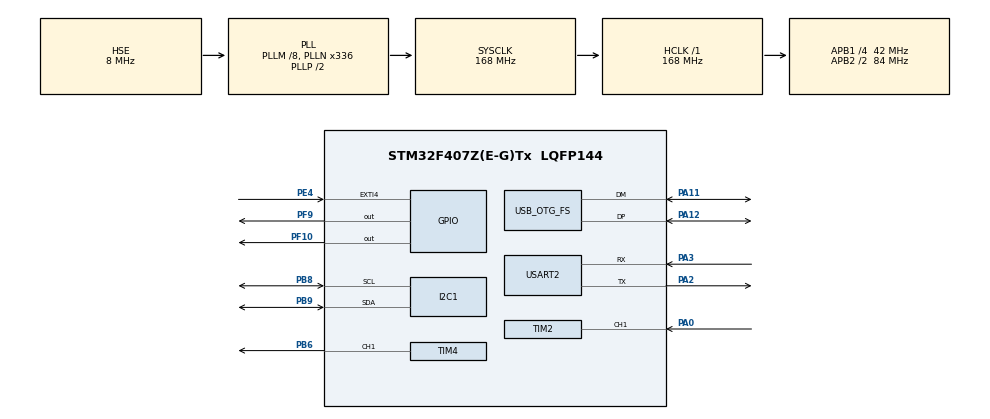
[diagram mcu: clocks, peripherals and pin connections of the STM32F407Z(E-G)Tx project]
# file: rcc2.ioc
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Dma.Request0=USART2_RX
Dma.USART2_RX.0.Direction=DMA_PERIPH_TO_MEMORY
Dma.USART2_RX.0.FIFOMode=DMA_FIFOMODE_DISABLE
Dma.USART2_RX.0.Instance=DMA1_Stream5
Dma.USART2_RX.0.MemDataAlignment=DMA_MDATAALIGN_BYTE
Dma.USART2_RX.0.MemInc=DMA_MINC_ENABLE
Dma.USART2_RX.0.Mode=DMA_NORMAL
Dma.USART2_RX.0.PeriphDataAlignment=DMA_PDATAALIGN_BYTE
Dma.USART2_RX.0.PeriphInc=DMA_PINC_DISABLE
Dma.USART2_RX.0.Priority=DMA_PRIORITY_LOW
FREERTOS.Tasks01=CommTask,40,256,StartCommTask,Default,NULL,Dynamic,NULL,NULL;CtrlTask,32,256,StartCtrlTask,Default,NULL,Dynamic,NULL,NULL;AcqTask,24,256,StartAcqTask,Default,NULL,Dynamic,NULL,NULL
I2C1.I2C_Mode=I2C_Fast
Mcu.Family=STM32F4
Mcu.Name=STM32F407Z(E-G)Tx
Mcu.Package=LQFP144
NVIC.DMA1_Stream5_IRQn=true\:5\:0\:false\:false\:true\:true\:false\:true\:true
NVIC.EXTI4_IRQn=true\:5\:0\:false\:false\:true\:true\:true\:true\:true
NVIC.OTG_FS_IRQn=true\:5\:0\:false\:false\:true\:true\:false\:true\:true
NVIC.PriorityGroup=NVIC_PRIORITYGROUP_4
NVIC.TIM6_DAC_IRQn=true\:15\:0\:false\:false\:true\:false\:false\:true\:true
NVIC.TimeBase=TIM6_DAC_IRQn
NVIC.TimeBaseIP=TIM6
NVIC.USART2_IRQn=true\:5\:0\:false\:false\:true\:true\:true\:true\:true
PA0-WKUP.Signal=S_TIM2_CH1_ETR
PA11.Mode=Device_Only
PA11.Signal=USB_OTG_FS_DM
PA12.Mode=Device_Only
PA12.Signal=USB_OTG_FS_DP
PA13.Mode=Serial_Wire
PA13.Signal=SYS_JTMS-SWDIO
PA14.Mode=Serial_Wire
PA14.Signal=SYS_JTCK-SWCLK
PA2.Mode=Asynchronous
PA2.Signal=USART2_TX
PA3.Mode=Asynchronous
PA3.Signal=USART2_RX
PB6.Signal=S_TIM4_CH1
PB8.Mode=I2C
PB8.Signal=I2C1_SCL
PB9.Mode=I2C
PB9.Signal=I2C1_SDA
PE4.GPIO_ModeDefaultEXTI=GPIO_MODE_IT_FALLING
PE4.GPIO_PuPd=GPIO_PULLUP
PE4.Signal=GPXTI4
PF10.PinState=GPIO_PIN_SET
PF10.Signal=GPIO_Output
PF9.PinState=GPIO_PIN_SET
PF9.Signal=GPIO_Output
PH0-OSC_IN.Mode=HSE-External-Oscillator
PH0-OSC_IN.Signal=RCC_OSC_IN
PH1-OSC_OUT.Mode=HSE-External-Oscillator
PH1-OSC_OUT.Signal=RCC_OSC_OUT
ProjectManager.HeapSize=0x200
ProjectManager.StackSize=0x400
ProjectManager.TargetToolchain=MDK-ARM V5.32
RCC.48MHZClocksFreq_Value=48000000
RCC.AHBFreq_Value=168000000
RCC.APB1CLKDivider=RCC_HCLK_DIV4
RCC.APB1Freq_Value=42000000
RCC.APB1TimFreq_Value=84000000
RCC.APB2CLKDivider=RCC_HCLK_DIV2
RCC.APB2Freq_Value=84000000
RCC.APB2TimFreq_Value=168000000
RCC.CortexFreq_Value=168000000
RCC.HCLKFreq_Value=168000000
RCC.HSE_VALUE=8000000
RCC.HSI_VALUE=16000000
RCC.LSE_VALUE=32768
RCC.PLLM=8
RCC.PLLN=336
RCC.PLLQ=7
RCC.SYSCLKFreq_VALUE=168000000
RCC.SYSCLKSource=RCC_SYSCLKSOURCE_PLLCLK
RCC.VCOOutputFreq_Value=336000000
SH.S_TIM2_CH1_ETR.0=TIM2_CH1,Input_Capture1_from_TI1
SH.S_TIM4_CH1.0=TIM4_CH1,PWM Generation1 CH1
TIM2.Channel-Input_Capture1_from_TI1=TIM_CHANNEL_1
TIM2.ICFilter_CH1=15
TIM4.AutoReloadPreload=TIM_AUTORELOAD_PRELOAD_ENABLE
TIM4.Channel-PWM\ Generation1\ CH1=TIM_CHANNEL_1
TIM4.Period=499
TIM4.Prescaler=83
TIM4.Pulse-PWM\ Generation1\ CH1=500
USART2.VirtualMode=VM_ASYNC
USB_DEVICE.CLASS_NAME_FS=CDC
USB_DEVICE.VirtualMode-CDC_FS=Cdc
USB_DEVICE.VirtualModeFS=Cdc_FS
USB_OTG_FS.VirtualMode=Device_Only
VP_FREERTOS_VS_CMSIS_V2.Mode=CMSIS_V2
VP_SYS_VS_tim6.Mode=TIM6
VP_TIM2_VS_ClockSourceINT.Mode=Internal
VP_TIM4_VS_ClockSourceINT.Mode=Internal
VP_USB_DEVICE_VS_USB_DEVICE_CDC_FS.Mode=CDC_FS
board=custom

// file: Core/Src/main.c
/* USER CODE BEGIN Header */
/**
  ******************************************************************************
  * @file           : main.c
  * @brief          : Main program body
  ******************************************************************************
  */
/* USER CODE END Header */
#include "main.h"
#include "cmsis_os.h"
#include "dma.h"
#include "tim.h"
#include "usart.h"
#include "gpio.h"
#include "i2c.h"
#include "iwdg.h"

/* USER CODE BEGIN Includes */
#include <stdio.h>
#include "virtual_motor.h"
#include "crc16.h"
#include "protocol_pack.h"
#include "mpu6050.h"
/* USER CODE END Includes */

void SystemClock_Config(void);
void MX_FREERTOS_Init(void);

/* USER CODE BEGIN 0 */
int fputc(int ch, FILE *f) {
    // 测试阶段不需要打印，直接空返回，避免 huart1 未定义报错
    return ch;
}
/* USER CODE END 0 */

int main(void)
{

  /* MCU Configuration--------------------------------------------------------*/
  HAL_Init();

  /* Configure the system clock */
  SystemClock_Config();

  /* Initialize all configured peripherals */
  MX_GPIO_Init();
  MX_DMA_Init();
  MX_TIM2_Init();
  MX_TIM4_Init();
  MX_USART2_UART_Init();
  MX_I2C1_Init();
  MX_IWDG_Init(); // 【已暂时注释】防止看门狗复位打断数据发送

  /* USER CODE BEGIN 2 */
  HAL_TIM_Base_Start(&htim2);
  HAL_TIM_PWM_Start(&htim4, TIM_CHANNEL_1);
  UART1_RxStart();

  mpu6050_init(); // MPU6050 初始化
  /* USER CODE END 2 */

  /* Init scheduler */
  osKernelInitialize();
  MX_FREERTOS_Init();

  /* Start scheduler */
  osKernelStart();

  /* We should never get here as control is now taken by the scheduler */
  while (1)
  {
  }
}

void SystemClock_Config(void)
{
  RCC_OscInitTypeDef RCC_OscInitStruct = {0};
  RCC_ClkInitTypeDef RCC_ClkInitStruct = {0};

  __HAL_RCC_PWR_CLK_ENABLE();
  __HAL_PWR_VOLTAGESCALING_CONFIG(PWR_REGULATOR_VOLTAGE_SCALE1);

  RCC_OscInitStruct.OscillatorType = RCC_OSCILLATORTYPE_HSE;
  RCC_OscInitStruct.HSEState = RCC_HSE_ON;
  RCC_OscInitStruct.PLL.PLLState = RCC_PLL_ON;
  RCC_OscInitStruct.PLL.PLLSource = RCC_PLLSOURCE_HSE;
  RCC_OscInitStruct.PLL.PLLM = 8;
  RCC_OscInitStruct.PLL.PLLN = 336;
  RCC_OscInitStruct.PLL.PLLP = RCC_PLLP_DIV2;
  RCC_OscInitStruct.PLL.PLLQ = 4;
  if (HAL_RCC_OscConfig(&RCC_OscInitStruct) != HAL_OK)
  {
    Error_Handler();
  }

  RCC_ClkInitStruct.ClockType = RCC_CLOCKTYPE_HCLK|RCC_CLOCKTYPE_SYSCLK
                              |RCC_CLOCKTYPE_PCLK1|RCC_CLOCKTYPE_PCLK2;
  RCC_ClkInitStruct.SYSCLKSource = RCC_SYSCLKSOURCE_PLLCLK;
  RCC_ClkInitStruct.AHBCLKDivider = RCC_SYSCLK_DIV1;
  RCC_ClkInitStruct.APB1CLKDivider = RCC_HCLK_DIV4;
  RCC_ClkInitStruct.APB2CLKDivider = RCC_HCLK_DIV2;

  if (HAL_RCC_ClockConfig(&RCC_ClkInitStruct, FLASH_LATENCY_5) != HAL_OK)
  {
    Error_Handler();
  }
}

/* USER CODE BEGIN 4 */
void HAL_GPIO_EXTI_Callback(uint16_t GPIO_Pin) {
    if (GPIO_Pin == GPIO_PIN_4) {
        VMotor_ToggleLoad();
    }
}
/* USER CODE END 4 */

void HAL_TIM_PeriodElapsedCallback(TIM_HandleTypeDef *htim)
{
  if (htim->Instance == TIM6)
  {
    HAL_IncTick();
  }
}

void Error_Handler(void)
{
  __disable_irq();
  while (1)
  {
  }
}

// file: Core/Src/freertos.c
/* USER CODE BEGIN Header */
/**
  ******************************************************************************
  * File Name          : freertos.c
  ******************************************************************************
  */
/* USER CODE END Header */

#include "FreeRTOS.h"
#include "task.h"
#include "main.h"
#include "cmsis_os.h"

/* USER CODE BEGIN Includes */
#include <stdio.h>
#include <string.h>
#include <math.h>
#include "pid.h"
#include "speed_calc.h"
#include "virtual_motor.h"
#include "protocol_pack.h"
#include "queue.h"
#include "mpu6050.h"
#include "iwdg.h"
/* USER CODE END Includes */

/* USER CODE BEGIN PD */
#define HEARTBEAT_TIMEOUT_MS   500U
/* USER CODE END PD */

/* USER CODE BEGIN Variables */
QueueHandle_t vel_cmd_queue;
QueueHandle_t xQueueActualSpeed;

PID_t g_pid_l;
PID_t g_pid_r;
volatile TickType_t g_last_heartbeat_tick = 0;

extern volatile uint32_t g_ok_cnt;
extern volatile uint32_t g_crc_err_cnt;
extern volatile uint8_t g_send_hb_ack;
extern void UART1_SendData(uint8_t *data, uint16_t len);

float odom_x = 0.0f;
float odom_y = 0.0f;
float odom_theta = 0.0f;

volatile int32_t g_enc_cnt_left = 0;
volatile int32_t g_enc_cnt_right = 0;

void Encoder_Inject(int32_t dl, int32_t dr) {
    g_enc_cnt_left += dl;
    g_enc_cnt_right += dr;
}
/* USER CODE END Variables */

/* Definitions for CommTask */
osThreadId_t CommTaskHandle;
const osThreadAttr_t CommTask_attributes = {
  .name = "CommTask",
  .stack_size = 512 * 4,
  .priority = (osPriority_t) osPriorityHigh,
};

/* Definitions for CtrlTask */
osThreadId_t CtrlTaskHandle;
const osThreadAttr_t CtrlTask_attributes = {
  .name = "CtrlTask",
  .stack_size = 1024 * 4, // 4KB 栈防爆
  .priority = (osPriority_t) osPriorityAboveNormal,
};

/* Definitions for AcqTask */
osThreadId_t AcqTaskHandle;
const osThreadAttr_t AcqTask_attributes = {
  .name = "AcqTask",
  .stack_size = 256 * 4,
  .priority = (osPriority_t) osPriorityNormal,
};

/* Definitions for ImuTask */
osThreadId_t ImuTaskHandle;
const osThreadAttr_t ImuTask_attributes = {
  .name = "ImuTask",
  .stack_size = 512 * 4,
  .priority = (osPriority_t) osPriorityNormal,
};

void StartCommTask(void *argument);
void StartCtrlTask(void *argument);
void StartAcqTask(void *argument);
void StartImuTask(void *argument);
void MX_FREERTOS_Init(void);

void MX_FREERTOS_Init(void) {
  /* USER CODE BEGIN RTOS_QUEUES */
  vel_cmd_queue     = xQueueCreate(4, sizeof(vel_cmd_t));
  xQueueActualSpeed = xQueueCreate(1, sizeof(float));
  /* USER CODE END RTOS_QUEUES */

  CommTaskHandle = osThreadNew(StartCommTask, NULL, &CommTask_attributes);
  CtrlTaskHandle = osThreadNew(StartCtrlTask, NULL, &CtrlTask_attributes);
  AcqTaskHandle  = osThreadNew(StartAcqTask, NULL, &AcqTask_attributes);
  ImuTaskHandle  = osThreadNew(StartImuTask, NULL, &ImuTask_attributes);
}

void StartCommTask(void *argument)
{
  for(;;) {
    if (g_send_hb_ack) {
        g_send_hb_ack = 0;
        uint8_t txbuf[16];
        uint16_t n = pack_heartbeat_ack(txbuf, 0);
        UART1_SendData(txbuf, n);
    }
    osDelay(10);
  }
}

void StartCtrlTask(void *argument)
{
  float target_l = 0.0f, target_r = 0.0f;
  float actual_l = 0.0f, actual_r = 0.0f;
  uint8_t in_safe_stop = 0;
  TickType_t xLastWake = xTaskGetTickCount();

    // 把 Kp 从 15 降到 3.0，Ki 从 0.02 降到 0.005，积分上限降到 100
  PID_Init(&g_pid_l, 3.0f, 0.005f, 0.0f, 100.0f, 100.0f);
  PID_Init(&g_pid_r, 3.0f, 0.005f, 0.0f, 100.0f, 100.0f);

  g_last_heartbeat_tick = xTaskGetTickCount();
  uint16_t div100ms = 0;
  uint32_t last_time = xTaskGetTickCount();
  int32_t last_enc_l = 0, last_enc_r = 0;

  for(;;)
  {
    // ==========================================================
    // 【自激测试 & 看门狗】每 2 秒自动注入速度；每 500ms 闪//
    // 闪烁 LED 灯（PF10），证明程序活着
    static uint16_t led_test_tick = 0;
    if (++led_test_tick >= 500) {
        led_test_tick = 0;
        HAL_GPIO_TogglePin(GPIOF, GPIO_PIN_10);
    }
    // ==========================================================

    if ((xTaskGetTickCount() - g_last_heartbeat_tick) > pdMS_TO_TICKS(HEARTBEAT_TIMEOUT_MS)) {
        if (!in_safe_stop) {
            in_safe_stop = 1;
            PID_Reset(&g_pid_l);
            PID_Reset(&g_pid_r);
            xQueueReset(vel_cmd_queue);
        }

        static uint16_t safe_stop_tick = 0;
        if (++safe_stop_tick >= 100) {
            safe_stop_tick = 0;
            uint8_t txbuf[32];
            uint16_t n = pack_pwm_telem(txbuf, 0, 0, 0, 0);
            UART1_SendData(txbuf, n);
        }

        vTaskDelayUntil(&xLastWake, pdMS_TO_TICKS(1));
        continue;
    }

    if (in_safe_stop) {
        in_safe_stop = 0;
    }

    vel_cmd_t cmd;
    if (xQueueReceive(vel_cmd_queue, &cmd, 0) == pdPASS) {
        target_l = cmd.v_left;
        target_r = cmd.v_right;
    }

    uint32_t now_time = xTaskGetTickCount();
    if (now_time - last_time >= 10) {
        int32_t dl = g_enc_cnt_left - last_enc_l;
        int32_t dr = g_enc_cnt_right - last_enc_r;
        last_enc_l = g_enc_cnt_left;
        last_enc_r = g_enc_cnt_right;

        actual_l = (dl / 1560.0f) * (3.14159f * 0.1f) / 0.01f;
        actual_r = (dr / 1560.0f) * (3.14159f * 0.1f) / 0.01f;
        last_time = now_time;
    }

    PID_SetTarget(&g_pid_l, target_l);
    PID_SetTarget(&g_pid_r, target_r);
    float duty_l = PID_Compute(&g_pid_l, actual_l);
    float duty_r = PID_Compute(&g_pid_r, actual_r);

    if (++div100ms >= 100) {
        div100ms = 0;

        // 算三角函数，测试会不会爆栈
        float v = (actual_l + actual_r) / 2.0f;
        float w = (actual_r - actual_l) / 0.30f;

        odom_x += v * 0.1f * cos(odom_theta);
        odom_y += v * 0.1f * sin(odom_theta);
        odom_theta += w * 0.1f;

        uint8_t txbuf[32];
        uint16_t n = pack_odom(txbuf, odom_x, odom_y, odom_theta);
        UART1_SendData(txbuf, n);

        int16_t pwm_l = (int16_t)(duty_l * 10.0f);
        int16_t pwm_r = (int16_t)(duty_r * 10.0f);
        int16_t spd_l = (int16_t)(actual_l * 1000.0f);
        int16_t spd_r = (int16_t)(actual_r * 1000.0f);

        n = pack_pwm_telem(txbuf, pwm_l, pwm_r, spd_l, spd_r);
        UART1_SendData(txbuf, n);
    }

    vTaskDelayUntil(&xLastWake, pdMS_TO_TICKS(1));
  }
}

void StartAcqTask(void *argument)
{
  TickType_t xLastWake = xTaskGetTickCount();
  uint16_t div500ms = 0;

  for(;;) {
    IWDG_Feed();
    float rpm = Speed_MeasureRPM(100);
    xQueueOverwrite(xQueueActualSpeed, &rpm);

    if (++div500ms >= 5) {
        div500ms = 0;
        uint8_t txbuf[16];
        uint16_t n = pack_battery(txbuf, 12.6f);
        UART1_SendData(txbuf, n);
    }
    vTaskDelayUntil(&xLastWake, pdMS_TO_TICKS(100));
  }
}

void StartImuTask(void *argument)
{
  osDelay(1000);
  mpu6050_calibrate_gyro();
  TickType_t xLastWake = xTaskGetTickCount();

  for(;;) {
    float acc[3], gyro[3];
    mpu6050_read_all(acc, gyro);

    uint8_t txbuf[32];
    uint16_t n = pack_imu_0x04(txbuf, acc, gyro);

    if (n > 0) {
        UART1_SendData(txbuf, n);
    }
    vTaskDelayUntil(&xLastWake, pdMS_TO_TICKS(50));
  }
}
